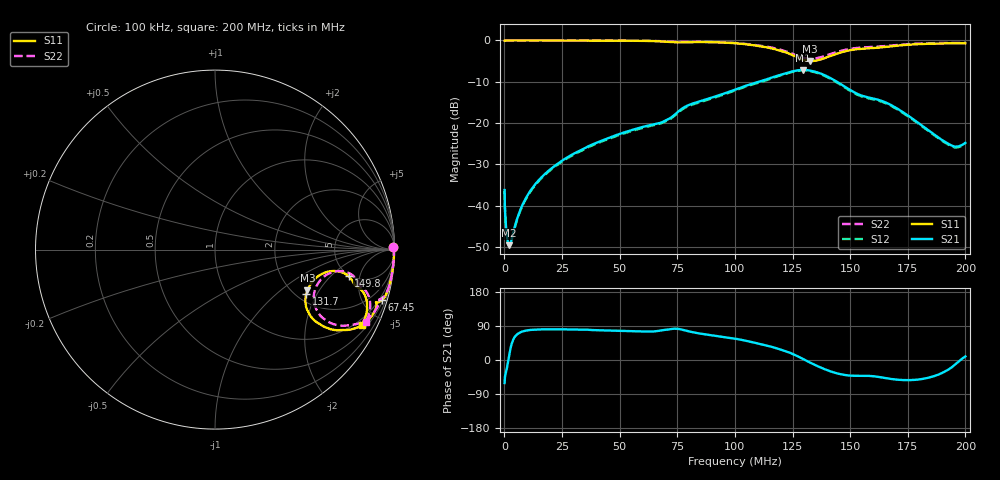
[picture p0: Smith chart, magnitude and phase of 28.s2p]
#  HZ  S  RI  R  50.00
! Rohde & Schwarz Vector Network Analyzer
! Rohde-Schwarz,ZNLE6-2Port,1323001256200024,1.71.1.10-23.02.1.238
! Created: UTC 4/8/2025, 1:58:14 AM
! freq[Hz]  re:S11  im:S11  re:S21  im:S21  re:S12  im:S12  re:S22  im:S22
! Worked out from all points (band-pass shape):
!   1001 points, 100 kHz to 200 MHz, reference 50 ohm
!   highest |S21| = -7.14 dB at 129.7 MHz (marker M1); lowest = -49.6 dB at 2.123 MHz (marker M2)
!   |S21| within 3 dB of the highest: 109.4 MHz to 144.6 MHz (35.21 MHz wide, 27.7 % of centre)
!   lowest |S11| = -5.0 dB at 132.7 MHz (marker M3), VSWR 3.57, Z = 119 - j79.1 ohm
!   |S11| at or under -10 dB: nowhere
!   |S22| runs from -4.4 to 0.0 dB; largest |S21 - S12| = 0.0092
!   S11 on the Smith chart (normalised r, x): 100 kHz: open; 67.45 MHz: 0.62, -6.69; 131.7 MHz: 2.24, -1.63; 149.8 MHz: 4.86, -3.40; 200 MHz: 0.74, -4.02
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100000  0.9925 0.0133  0.00757 -0.0135  0.00738 -0.0132  0.9928 0.0129
355854.1  0.9939 0.00419  0.00602 -0.0051  0.00587 -0.00497  0.9943 0.00415
1266322  0.9961 -0.00193  0.00384 -0.00113  0.00375 -0.00111  0.9962 -0.00175
2123313  0.9967 -0.00591  0.00324 0.000764  0.00316 0.000749  0.9967 -0.00539
2877765  0.9971 -0.0087  0.00296 0.00219  0.00293 0.00209  0.9973 -0.00774
4472136  0.997 -0.0156  0.0027 0.00481  0.00267 0.00469  0.9975 -0.0134
1.591428e7  0.9953 -0.0599  0.00349 0.0215  0.00355 0.021  0.9959 -0.0555
3.251501e7  0.9875 -0.1247  0.00803 0.0454  0.00862 0.0441  0.9891 -0.1154
5.663162e7  0.9624 -0.228  0.0211 0.0818  0.0216 0.0793  0.9679 -0.2097
6.745012e7  0.9314 -0.2824  0.0219 0.0978  0.0237 0.0951  0.9442 -0.2584
7.972699e7  0.8999 -0.3008  0.0396 0.1592  0.0403 0.1545  0.9148 -0.2867
9.211385e7  0.8727 -0.3706  0.095 0.19  0.094 0.1845  0.8866 -0.3492
1.097106e8  0.7332 -0.4479  0.2255 0.2172  0.2208 0.21  0.7638 -0.4188
1.20188e8  0.606 -0.4288  0.3448 0.1744  0.3388 0.1734  0.6456 -0.4099
1.296795e8  0.5036 -0.292  0.4394 0.0174  0.4325 0.0167  0.5495 -0.2801
1.316659e8  0.508 -0.2482  0.4344 -0.0298  0.4275 -0.03  0.5528 -0.2395
1.326705e8  0.5143 -0.2275  0.4278 -0.0523  0.421 -0.0525  0.5583 -0.22
1.409882e8  0.6283 -0.1232  0.3113 -0.1723  0.304 -0.1714  0.6654 -0.1227
1.498273e8  0.7445 -0.1481  0.1906 -0.1664  0.1849 -0.1638  0.7737 -0.1489
1.679215e8  0.818 -0.2277  0.1051 -0.1261  0.1022 -0.1239  0.838 -0.2275
1.896369e8  0.8403 -0.369  0.0517 -0.0361  0.0503 -0.0358  0.8588 -0.3561
2e8  0.8191 -0.4189  0.0569 0.00943  0.0559 0.0091  0.8428 -0.4028
